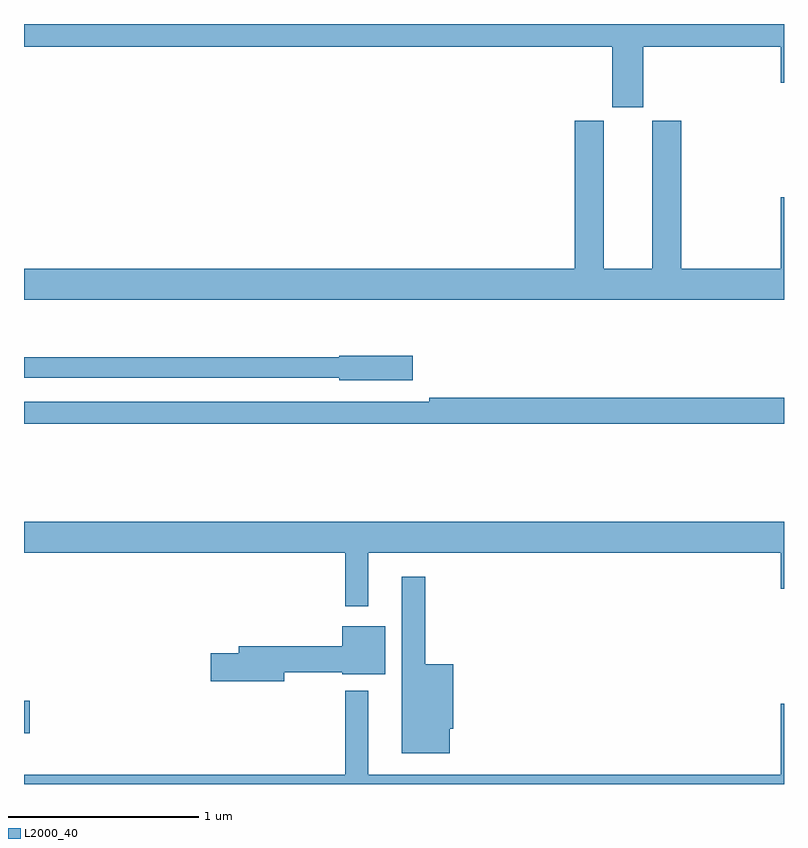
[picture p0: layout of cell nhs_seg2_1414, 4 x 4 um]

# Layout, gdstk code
import gdstk
lib = gdstk.Library(unit=1e-6, precision=1e-09)
def R(c, l, rs):  # rectangles x0, y0, x1, y1
    for r in rs: c.add(gdstk.rectangle(r[:2], r[2:], *l))
def P(c, l, *ps):  # polygons
    for p in ps: c.add(gdstk.Polygon(p, *l))
L2000_40 = (2000, 40)

nhs_seg2_1414 = lib.new_cell('nhs_seg2_1414')
R(nhs_seg2_1414, L2000_40, [(185,600.068,185.029,600.239)])
P(nhs_seg2_1414, L2000_40, [(188.26,603.68),(188.984,603.68),(188.984,603.492),(189,603.492),(189,603.8),(185,603.8),(185,603.68),(188.096,603.68),(188.096,603.363),(188.26,603.363)],
  [(189,602.887),(188.984,602.887),(188.984,602.512),(188.459,602.512),(188.459,603.291),(188.306,603.291),(188.306,602.512),(188.05,602.512),(188.05,603.291),(187.898,603.291),(187.898,602.512),(185,602.512),(185,602.348),(189,602.348)],
  [(187.045,602.055),(186.66,602.055),(186.66,602.047),(185,602.047),(185,601.938),(186.66,601.938),(186.66,601.925),(187.045,601.925)],
  [(189,601.832),(187.132,601.832),(187.132,601.812),(185,601.812),(185,601.696),(189,601.696)],
  [(186.811,601.016),(188.984,601.016),(188.984,600.828),(189,600.828),(189,601.18),(185,601.18),(185,601.016),(186.69,601.016),(186.69,600.735),(186.811,600.735)],
  [(187.24,600.09),(187.258,600.09),(187.258,600.43),(187.111,600.43),(187.111,600.892),(186.989,600.892),(186.989,599.963),(187.24,599.963)],
  [(186.37,600.388),(186.674,600.388),(186.674,600.377),(186.901,600.377),(186.901,600.631),(186.674,600.631),(186.674,600.524),(186.131,600.524),(186.131,600.488),(185.982,600.488),(185.982,600.341),(186.37,600.341)],
  [(189,600.223),(188.984,600.223),(188.984,599.848),(186.811,599.848),(186.811,600.292),(186.69,600.292),(186.69,599.848),(185,599.848),(185,599.8),(189,599.8)])

lib.write_gds('nhs_seg2_1414.gds')
